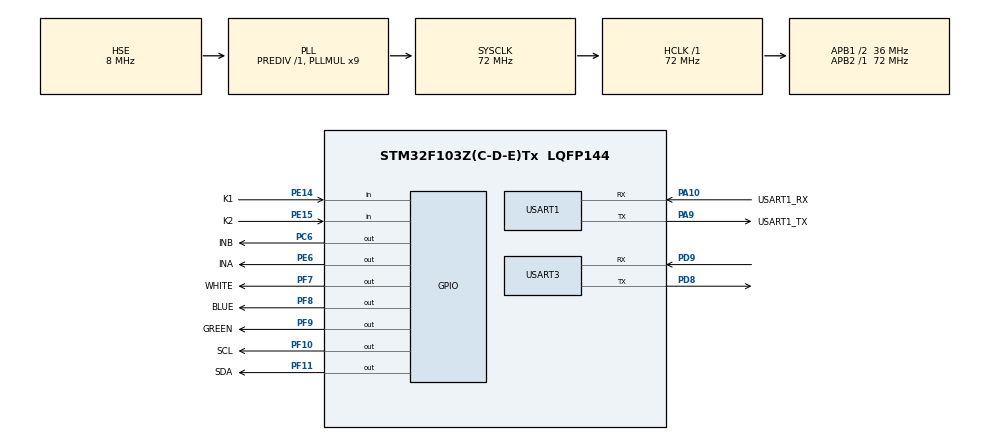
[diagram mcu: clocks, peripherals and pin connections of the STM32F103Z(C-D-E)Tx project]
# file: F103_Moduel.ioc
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FREERTOS.Tasks01=defaultTask,24,128,StartDefaultTask,Default,NULL,Dynamic,NULL,NULL
Mcu.Family=STM32F1
Mcu.Name=STM32F103Z(C-D-E)Tx
Mcu.Package=LQFP144
NVIC.PriorityGroup=NVIC_PRIORITYGROUP_4
NVIC.TIM8_UP_IRQn=true\:15\:0\:false\:false\:true\:false\:false\:true
NVIC.TimeBase=TIM8_UP_IRQn
NVIC.TimeBaseIP=TIM8
NVIC.USART3_IRQn=true\:5\:0\:false\:false\:true\:true\:true\:true
OSC_IN.Mode=HSE-External-Oscillator
OSC_IN.Signal=RCC_OSC_IN
OSC_OUT.Mode=HSE-External-Oscillator
OSC_OUT.Signal=RCC_OSC_OUT
PA10.GPIO_Label=USART1_RX
PA10.GPIO_PuPd=GPIO_PULLUP
PA10.Mode=Asynchronous
PA10.Signal=USART1_RX
PA13.Mode=Serial_Wire
PA13.Signal=SYS_JTMS-SWDIO
PA14.Mode=Serial_Wire
PA14.Signal=SYS_JTCK-SWCLK
PA9.GPIO_Label=USART1_TX
PA9.Mode=Asynchronous
PA9.Signal=USART1_TX
PC14-OSC32_IN.Mode=LSE-External-Oscillator
PC14-OSC32_IN.Signal=RCC_OSC32_IN
PC15-OSC32_OUT.Mode=LSE-External-Oscillator
PC15-OSC32_OUT.Signal=RCC_OSC32_OUT
PC6.GPIO_Label=INB
PC6.GPIO_PuPd=GPIO_PULLUP
PC6.GPIO_Speed=GPIO_SPEED_FREQ_HIGH
PC6.PinState=GPIO_PIN_SET
PC6.Signal=GPIO_Output
PD8.Mode=Asynchronous
PD8.Signal=USART3_TX
PD9.Mode=Asynchronous
PD9.Signal=USART3_RX
PE14.GPIO_Label=K1
PE14.GPIO_PuPd=GPIO_PULLUP
PE14.Signal=GPIO_Input
PE15.GPIO_Label=K2
PE15.GPIO_PuPd=GPIO_PULLUP
PE15.Signal=GPIO_Input
PE6.GPIO_Label=INA
PE6.GPIO_PuPd=GPIO_PULLUP
PE6.GPIO_Speed=GPIO_SPEED_FREQ_HIGH
PE6.PinState=GPIO_PIN_SET
PE6.Signal=GPIO_Output
PF10.GPIO_Label=SCL
PF10.GPIO_PuPd=GPIO_PULLUP
PF10.GPIO_Speed=GPIO_SPEED_FREQ_HIGH
PF10.PinState=GPIO_PIN_SET
PF10.Signal=GPIO_Output
PF11.GPIO_Label=SDA
PF11.GPIO_PuPd=GPIO_PULLUP
PF11.GPIO_Speed=GPIO_SPEED_FREQ_HIGH
PF11.PinState=GPIO_PIN_SET
PF11.Signal=GPIO_Output
PF7.GPIO_Label=WHITE
PF7.GPIO_ModeDefaultOutputPP=GPIO_MODE_OUTPUT_PP
PF7.GPIO_PuPd=GPIO_PULLUP
PF7.GPIO_Speed=GPIO_SPEED_FREQ_HIGH
PF7.PinState=GPIO_PIN_SET
PF7.Signal=GPIO_Output
PF8.GPIO_Label=BLUE
PF8.GPIO_PuPd=GPIO_PULLUP
PF8.GPIO_Speed=GPIO_SPEED_FREQ_HIGH
PF8.PinState=GPIO_PIN_SET
PF8.Signal=GPIO_Output
PF9.GPIO_Label=GREEN
PF9.GPIO_PuPd=GPIO_PULLUP
PF9.GPIO_Speed=GPIO_SPEED_FREQ_HIGH
PF9.PinState=GPIO_PIN_SET
PF9.Signal=GPIO_Output
ProjectManager.HeapSize=0x200
ProjectManager.StackSize=0x400
ProjectManager.TargetToolchain=MDK-ARM V5.32
RCC.AHBFreq_Value=72000000
RCC.APB1CLKDivider=RCC_HCLK_DIV2
RCC.APB1Freq_Value=36000000
RCC.APB1TimFreq_Value=72000000
RCC.APB2Freq_Value=72000000
RCC.APB2TimFreq_Value=72000000
RCC.HCLKFreq_Value=72000000
RCC.PLLMUL=RCC_PLL_MUL9
RCC.PLLSourceVirtual=RCC_PLLSOURCE_HSE
RCC.SYSCLKFreq_VALUE=72000000
RCC.SYSCLKSource=RCC_SYSCLKSOURCE_PLLCLK
RCC.USBFreq_Value=72000000
USART1.VirtualMode=VM_ASYNC
USART3.VirtualMode=VM_ASYNC
VP_FREERTOS_VS_CMSIS_V2.Mode=CMSIS_V2
VP_SYS_VS_tim8.Mode=TIM8
board=custom

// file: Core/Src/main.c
/* USER CODE BEGIN Header */
/**
  ******************************************************************************
  * @file           : main.c
  * @brief          : Main program body
  ******************************************************************************
  * @attention
  *
  * <h2><center>&copy; Copyright (c) 2021 STMicroelectronics.
  * All rights reserved.</center></h2>
  *
  * This software component is licensed by ST under BSD 3-Clause license,
  * the "License"; You may not use this file except in compliance with the
  * License. You may obtain a copy of the License at:
  *                        opensource.org/licenses/BSD-3-Clause
  *
  ******************************************************************************
  */
/* USER CODE END Header */
#include "main.h"
#include "cmsis_os.h"
#include "usart.h"
#include "gpio.h"

/* USER CODE BEGIN Includes */
#include "driver_usart.h"
#include "driver_key.h"
#include <stdio.h>
#include <platform_mutex.h>
#include <stm32_uart3.h>
#include "at_command.h"

/* USER CODE END Includes */

void SystemClock_Config(void);
void MX_FREERTOS_Init(void);

/* USER CODE BEGIN 0 */

ring_buffer test_buffer;

/* USER CODE END 0 */

int main(void)
{

  /* MCU Configuration--------------------------------------------------------*/

  /* Reset of all peripherals, Initializes the Flash interface and the Systick. */
  HAL_Init();

  /* Configure the system clock */
  SystemClock_Config();

  /* Initialize all configured peripherals */
  MX_GPIO_Init();
  MX_USART1_UART_Init();
  MX_USART3_UART_Init();
  /* USER CODE BEGIN 2 */

	KEY_GPIO_ReInit();

    ring_buffer_init(&test_buffer);
	UART3_Lock_Init();

    EnableDebugIRQ();
	EnableUART3IRQ();
    printf("Hello World!\r\n");

  /* USER CODE END 2 */

  /* Init scheduler */
  osKernelInitialize();  /* Call init function for freertos objects (in freertos.c) */
  MX_FREERTOS_Init();
  /* Start scheduler */
  ATInit();
  osKernelStart();

  /* We should never get here as control is now taken by the scheduler */
  /* Infinite loop */
  /* USER CODE BEGIN WHILE */
  USART3_Write("AT\r\n", 4);
  while (1)
  {
    /* USER CODE END WHILE */

  }
}

void SystemClock_Config(void)
{
  RCC_OscInitTypeDef RCC_OscInitStruct = {0};
  RCC_ClkInitTypeDef RCC_ClkInitStruct = {0};

  /** Initializes the RCC Oscillators according to the specified parameters
  * in the RCC_OscInitTypeDef structure.
  */
  RCC_OscInitStruct.OscillatorType = RCC_OSCILLATORTYPE_HSE;
  RCC_OscInitStruct.HSEState = RCC_HSE_ON;
  RCC_OscInitStruct.HSEPredivValue = RCC_HSE_PREDIV_DIV1;
  RCC_OscInitStruct.HSIState = RCC_HSI_ON;
  RCC_OscInitStruct.PLL.PLLState = RCC_PLL_ON;
  RCC_OscInitStruct.PLL.PLLSource = RCC_PLLSOURCE_HSE;
  RCC_OscInitStruct.PLL.PLLMUL = RCC_PLL_MUL9;
  if (HAL_RCC_OscConfig(&RCC_OscInitStruct) != HAL_OK)
  {
    Error_Handler();
  }
  /** Initializes the CPU, AHB and APB buses clocks
  */
  RCC_ClkInitStruct.ClockType = RCC_CLOCKTYPE_HCLK|RCC_CLOCKTYPE_SYSCLK
                              |RCC_CLOCKTYPE_PCLK1|RCC_CLOCKTYPE_PCLK2;
  RCC_ClkInitStruct.SYSCLKSource = RCC_SYSCLKSOURCE_PLLCLK;
  RCC_ClkInitStruct.AHBCLKDivider = RCC_SYSCLK_DIV1;
  RCC_ClkInitStruct.APB1CLKDivider = RCC_HCLK_DIV2;
  RCC_ClkInitStruct.APB2CLKDivider = RCC_HCLK_DIV1;

  if (HAL_RCC_ClockConfig(&RCC_ClkInitStruct, FLASH_LATENCY_2) != HAL_OK)
  {
    Error_Handler();
  }
}

void HAL_TIM_PeriodElapsedCallback(TIM_HandleTypeDef *htim)
{
  if (htim->Instance == TIM8) {
    HAL_IncTick();
  }
}

void Error_Handler(void)
{
  __disable_irq();
  while (1)
  {
  }
}

/************************ (C) COPYRIGHT STMicroelectronics *****END OF FILE****/

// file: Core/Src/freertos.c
/* USER CODE BEGIN Header */
/**
  ******************************************************************************
  * File Name          : freertos.c
  * Description        : Code for freertos applications
  ******************************************************************************
  * @attention
  *
  * <h2><center>&copy; Copyright (c) 2021 STMicroelectronics.
  * All rights reserved.</center></h2>
  *
  * This software component is licensed by ST under Ultimate Liberty license
  * SLA0044, the "License"; You may not use this file except in compliance with
  * the License. You may obtain a copy of the License at:
  *                             www.st.com/SLA0044
  *
  ******************************************************************************
  */
/* USER CODE END Header */

#include "FreeRTOS.h"
#include "task.h"
#include "main.h"
#include "cmsis_os.h"

/* USER CODE BEGIN Includes */
#include <stdio.h>
#include <at_command.h>

/* USER CODE END Includes */

/* Definitions for defaultTask */
osThreadId_t defaultTaskHandle;
const osThreadAttr_t defaultTask_attributes = {
  .name = "defaultTask",
  .stack_size = 512 * 4,
  .priority = (osPriority_t) osPriorityNormal,
};

void StartDefaultTask(void *argument);

void MX_FREERTOS_Init(void); /* (MISRA C 2004 rule 8.1) */

void MX_FREERTOS_Init(void) {

  /* Create the thread(s) */
  /* creation of defaultTask */
  defaultTaskHandle = osThreadNew(StartDefaultTask, NULL, &defaultTask_attributes);

  /* USER CODE BEGIN RTOS_THREADS */
  /* add threads, ... */
  osThreadNew(ATRecvParser, NULL, &defaultTask_attributes);
  osThreadNew(MQTT_Client_Task, NULL, &defaultTask_attributes);
  /* USER CODE END RTOS_THREADS */

}

void StartDefaultTask(void *argument)
{
  /* USER CODE BEGIN StartDefaultTask */
    printf("StartDefaultTask\r\n");
  /* Infinite loop */
  for(;;)
  {
    osDelay(1);
  }
  /* USER CODE END StartDefaultTask */
}

/************************ (C) COPYRIGHT STMicroelectronics *****END OF FILE****/
